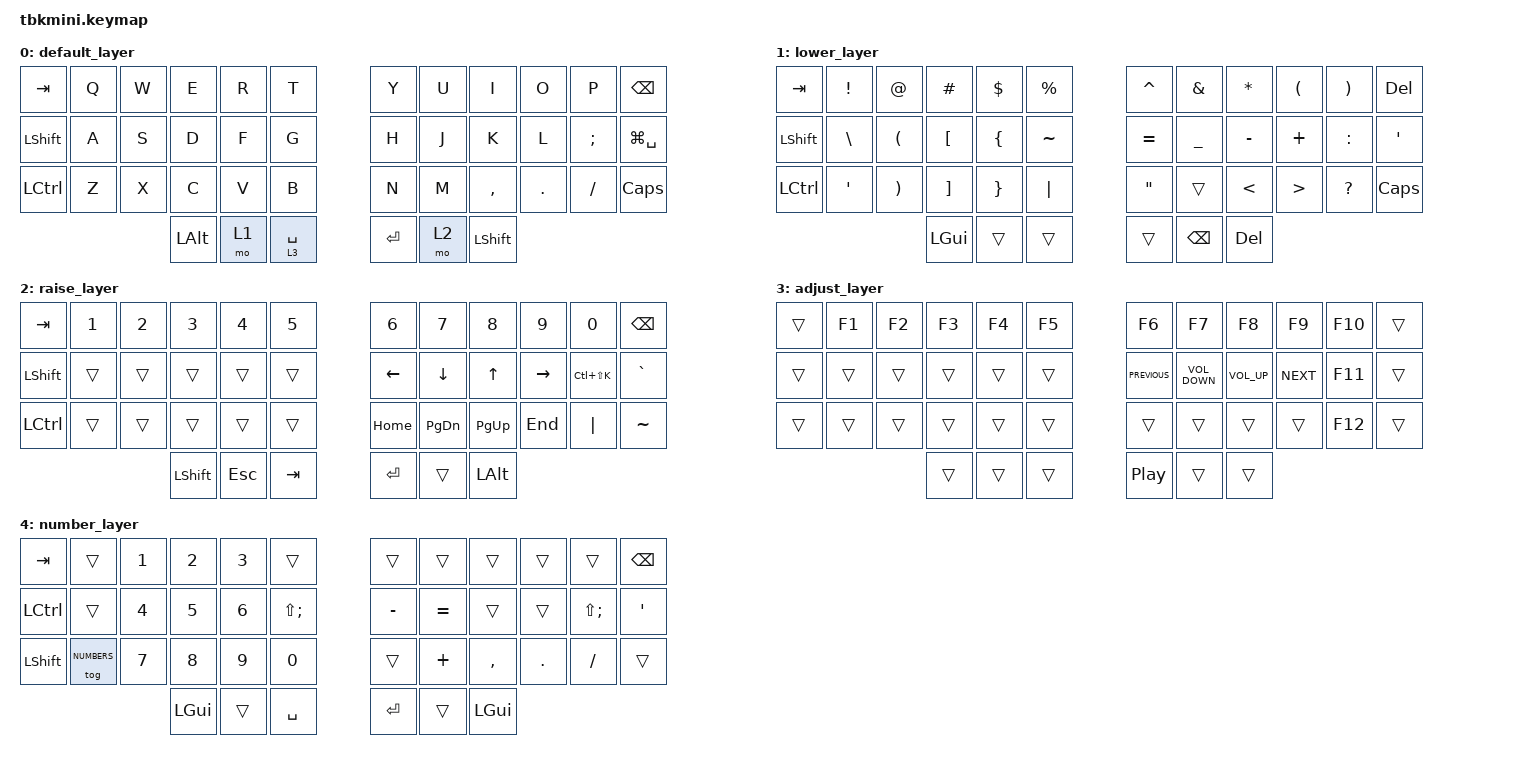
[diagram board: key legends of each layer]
/*
 * Copyright (c) 2020 The ZMK Contributors
 *
 * SPDX-License-Identifier: MIT
 */

#include <behaviors.dtsi>
#include <dt-bindings/zmk/keys.h>

#define LOWER 1
#define RAISE 2
#define ADJUST 3
#define NUMBERS 4
#define BT0 BT_SEL 0
#define BT1 BT_SEL 1
#define BT2 BT_SEL 2
#define BT3 BT_SEL 3
#define BT4 BT_SEL 4

&mt { retro-tap; };

&sk {
    //release-after-ms = <2000>;

    quick-release;

    // /delete-property/ ignore-modifiers;
};

/ {
    conditional_layers {
        compatible = "zmk,conditional-layers";

        tri_layer {
            if-layers = <LOWER RAISE>;
            then-layer = <ADJUST>;
        };
    };

    combos {
        compatible = "zmk,combos";

        combo_caps {
            timeout-ms = <50>;
            key-positions = <24 35>;
            bindings = <&kp CAPSLOCK>;
        };

        combo_esc {
            timeout-ms = <50>;
            key-positions = <19 20>;
            bindings = <&kp ESC>;
        };
    };

    macros {
        none_blk: none_blk {
            label = "NON_BLOCKING";
            compatible = "zmk,behavior-macro";
            #binding-cells = <0>;
            bindings = <&macro_tap>, <&kp LS(COMMA) &kp EQUAL>;
        };

        cmd_mode: cmd_mode {
            label = "VIM_CMD_MODE";
            compatible = "zmk,behavior-macro";
            #binding-cells = <0>;
            bindings = <&macro_tap>, <&kp ESC &kp LS(SEMI)>;
        };
    };

    keymap {
        compatible = "zmk,keymap";

        default_layer {
            bindings = <
&kp TAB           &kp Q  &kp W  &kp E         &kp R  &kp T        &kp Y    &kp U  &kp I      &kp O    &kp P     &kp BSPC
&kp LEFT_SHIFT    &kp A  &kp S  &kp D         &kp F  &kp G        &kp H    &kp J  &kp K      &kp L    &kp SEMI  &kp LG(SPACE)
&kp LEFT_CONTROL  &kp Z  &kp X  &kp C         &kp V  &kp B        &kp N    &kp M  &kp COMMA  &kp DOT  &kp FSLH  &kp CAPSLOCK
                                &kp LEFT_ALT  &mo 1  &lt 3 SPACE  &kp RET  &mo 2  &kp LSHFT
            >;
        };

        lower_layer {
            bindings = <
&kp TAB           &kp EXCLAMATION   &kp AT_SIGN            &kp HASH           &kp DOLLAR       &kp PERCENT  &kp CARET          &kp AMPERSAND   &kp ASTERISK   &kp LEFT_PARENTHESIS  &kp RIGHT_PARENTHESIS  &kp DEL
&kp LEFT_SHIFT    &kp BACKSLASH     &kp LEFT_PARENTHESIS   &kp LEFT_BRACKET   &kp LEFT_BRACE   &kp TILDE    &kp EQUAL          &kp UNDERSCORE  &kp MINUS      &kp PLUS              &kp COLON              &kp APOS
&kp LEFT_CONTROL  &kp SINGLE_QUOTE  &kp RIGHT_PARENTHESIS  &kp RIGHT_BRACKET  &kp RIGHT_BRACE  &kp PIPE     &kp DOUBLE_QUOTES  &trans          &kp LESS_THAN  &kp GREATER_THAN      &kp QUESTION           &kp CAPSLOCK
                                                           &kp LGUI           &trans           &trans       &trans             &kp BACKSPACE   &kp DEL
            >;
        };

        raise_layer {
            bindings = <
&kp TAB           &kp NUMBER_1  &kp NUMBER_2  &kp NUMBER_3    &kp NUMBER_4  &kp NUMBER_5  &kp NUMBER_6  &kp N7          &kp N8        &kp N9     &kp N0         &kp BSPC
&kp LEFT_SHIFT    &trans        &trans        &trans          &trans        &trans        &kp LEFT      &kp DOWN_ARROW  &kp UP_ARROW  &kp RIGHT  &kp LC(LS(K))  &kp GRAVE
&kp LEFT_CONTROL  &trans        &trans        &trans          &trans        &trans        &kp HOME      &kp PAGE_DOWN   &kp PAGE_UP   &kp END    &kp PIPE       &kp TILDE
                                              &kp LEFT_SHIFT  &kp ESCAPE    &kp TAB       &kp RET       &trans          &kp LEFT_ALT
            >;
        };

        adjust_layer {
            bindings = <
&trans  &kp F1  &kp F2  &kp F3  &kp F4  &kp F5  &kp F6            &kp F7             &kp F8           &kp F9      &kp F10  &trans
&trans  &trans  &trans  &trans  &trans  &trans  &kp C_PREVIOUS    &kp K_VOLUME_DOWN  &kp K_VOLUME_UP  &kp C_NEXT  &kp F11  &trans
&trans  &trans  &trans  &trans  &trans  &trans  &trans            &trans             &trans           &trans      &kp F12  &trans
                        &trans  &trans  &trans  &kp C_PLAY_PAUSE  &trans             &trans
            >;
        };

        number_layer {
            bindings = <
&kp TAB    &trans        &kp N1  &kp N2    &kp N3  &trans        &trans     &trans     &trans     &trans   &trans        &kp BSPC
&kp LCTRL  &trans        &kp N4  &kp N5    &kp N6  &kp LS(SEMI)  &kp MINUS  &kp EQUAL  &trans     &trans   &kp LS(SEMI)  &kp SQT
&kp LSHFT  &tog NUMBERS  &kp N7  &kp N8    &kp N9  &kp N0        &trans     &kp PLUS   &kp COMMA  &kp DOT  &kp FSLH      &trans
                                 &kp LGUI  &trans  &kp SPACE     &kp RET    &trans     &kp LGUI
            >;
        };
    };
};
